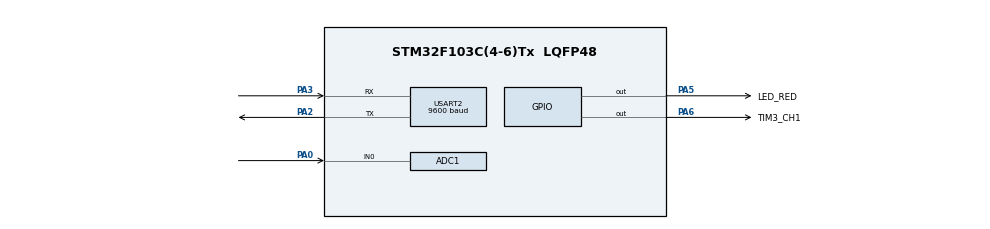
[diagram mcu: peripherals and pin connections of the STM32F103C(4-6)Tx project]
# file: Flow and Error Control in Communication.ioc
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ADC1.Channel-5\#ChannelRegularConversion=ADC_CHANNEL_0
ADC1.ContinuousConvMode=ENABLE
ADC1.NbrOfConversionFlag=1
ADC1.Rank-5\#ChannelRegularConversion=1
ADC1.SamplingTime-5\#ChannelRegularConversion=ADC_SAMPLETIME_1CYCLE_5
ADC1.master=1
Mcu.Family=STM32F1
Mcu.Name=STM32F103C(4-6)Tx
Mcu.Package=LQFP48
NVIC.PriorityGroup=NVIC_PRIORITYGROUP_4
NVIC.TIM2_IRQn=true\:0\:0\:false\:false\:true\:true\:true
NVIC.USART2_IRQn=true\:0\:0\:false\:false\:true\:true\:true
PA0-WKUP.Signal=ADCx_IN0
PA2.Mode=Asynchronous
PA2.Signal=USART2_TX
PA3.Mode=Asynchronous
PA3.Signal=USART2_RX
PA5.GPIO_Label=LED_RED
PA5.Signal=GPIO_Output
PA6.GPIO_Label=TIM3_CH1
PA6.Signal=GPIO_Output
ProjectManager.HeapSize=0x200
ProjectManager.StackSize=0x400
ProjectManager.TargetToolchain=STM32CubeIDE
RCC.APB1Freq_Value=8000000
RCC.APB2Freq_Value=8000000
SH.ADCx_IN0.0=ADC1_IN0,IN0
TIM2.Period=9
TIM2.Prescaler=7999
USART2.BaudRate=9600
USART2.VirtualMode=VM_ASYNC
VP_SYS_VS_ND.Mode=No_Debug
VP_TIM2_VS_ClockSourceINT.Mode=Internal
board=custom

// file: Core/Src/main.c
/* USER CODE BEGIN Header */
/**
  ******************************************************************************
  * @file           : main.c
  * @brief          : Main program body
  ******************************************************************************
  * @attention
  *
  * <h2><center>&copy; Copyright (c) 2023 STMicroelectronics.
  * All rights reserved.</center></h2>
  *
  * This software component is licensed by ST under BSD 3-Clause license,
  * the "License"; You may not use this file except in compliance with the
  * License. You may obtain a copy of the License at:
  *                        opensource.org/licenses/BSD-3-Clause
  *
  ******************************************************************************
  */
/* USER CODE END Header */
#include "main.h"

/* USER CODE BEGIN Includes */
#include "fsm.h"
#include "software_timer.h"
/* USER CODE END Includes */

ADC_HandleTypeDef hadc1;

TIM_HandleTypeDef htim2;

UART_HandleTypeDef huart2;

void SystemClock_Config(void);
static void MX_GPIO_Init(void);
static void MX_ADC1_Init(void);
static void MX_USART2_UART_Init(void);
static void MX_TIM2_Init(void);

/* USER CODE BEGIN 0 */
uint32_t ADC_value = 0;
char str[32]; // Ensure you have a buffer large enough for the string representation of the ADC value
uint8_t temp = 0;
uint8_t buffer[MAX_BUFFER_SIZE];
uint8_t index_buffer = 0;
uint8_t buffer_flag = 0;
#define DELETE_CHAR 0x08 // For the ASCII 'delete' character
void HAL_UART_RxCpltCallback(UART_HandleTypeDef *huart){
    if(huart->Instance == USART2){
    	if (temp==DELETE_CHAR){
			if (index_buffer>0){
				index_buffer--;
			}

			HAL_UART_Transmit(&huart2, (uint8_t *)"\b \b", 3, 50); // for the termination of the backspace
    	}
    	else {
    		if (temp=='!'){
    			index_buffer = 0;
    		}
			HAL_UART_Transmit(&huart2, &temp, 1, 50);
			buffer[index_buffer++] = temp;
			if(index_buffer == MAX_BUFFER_SIZE) index_buffer = 0;

    	}
			buffer_flag = 1;
			HAL_UART_Receive_IT(huart, &temp, 1);
    }
}

/* USER CODE END 0 */

int main(void)
{

  /* MCU Configuration--------------------------------------------------------*/

  /* Reset of all peripherals, Initializes the Flash interface and the Systick. */
  HAL_Init();

  /* Configure the system clock */
  SystemClock_Config();

  /* Initialize all configured peripherals */
  MX_GPIO_Init();
  MX_ADC1_Init();
  MX_USART2_UART_Init();
  MX_TIM2_Init();
  /* USER CODE BEGIN 2 */
  HAL_TIM_Base_Start_IT(&htim2);
  /* USER CODE END 2 */

  /* Infinite loop */
  /* USER CODE BEGIN WHILE */
  HAL_UART_Receive_IT(&huart2, &temp, 1);
  set_TIMER_CYCLE();
  setTimer(1, 100);
  setTimer(0, 100);
  while (1)
  {
    /* USER CODE END WHILE */

    /* USER CODE BEGIN 3 */

	  if( buffer_flag == 1){

		  buffer_flag = 0;
		  command_parser_fsm ();

	  }
	  uart_communiation_fsm ();
  }
  /* USER CODE END 3 */
}

void SystemClock_Config(void)
{
  RCC_OscInitTypeDef RCC_OscInitStruct = {0};
  RCC_ClkInitTypeDef RCC_ClkInitStruct = {0};
  RCC_PeriphCLKInitTypeDef PeriphClkInit = {0};

  /** Initializes the RCC Oscillators according to the specified parameters
  * in the RCC_OscInitTypeDef structure.
  */
  RCC_OscInitStruct.OscillatorType = RCC_OSCILLATORTYPE_HSI;
  RCC_OscInitStruct.HSIState = RCC_HSI_ON;
  RCC_OscInitStruct.HSICalibrationValue = RCC_HSICALIBRATION_DEFAULT;
  RCC_OscInitStruct.PLL.PLLState = RCC_PLL_NONE;
  if (HAL_RCC_OscConfig(&RCC_OscInitStruct) != HAL_OK)
  {
    Error_Handler();
  }
  /** Initializes the CPU, AHB and APB buses clocks
  */
  RCC_ClkInitStruct.ClockType = RCC_CLOCKTYPE_HCLK|RCC_CLOCKTYPE_SYSCLK
                              |RCC_CLOCKTYPE_PCLK1|RCC_CLOCKTYPE_PCLK2;
  RCC_ClkInitStruct.SYSCLKSource = RCC_SYSCLKSOURCE_HSI;
  RCC_ClkInitStruct.AHBCLKDivider = RCC_SYSCLK_DIV1;
  RCC_ClkInitStruct.APB1CLKDivider = RCC_HCLK_DIV1;
  RCC_ClkInitStruct.APB2CLKDivider = RCC_HCLK_DIV1;

  if (HAL_RCC_ClockConfig(&RCC_ClkInitStruct, FLASH_LATENCY_0) != HAL_OK)
  {
    Error_Handler();
  }
  PeriphClkInit.PeriphClockSelection = RCC_PERIPHCLK_ADC;
  PeriphClkInit.AdcClockSelection = RCC_ADCPCLK2_DIV2;
  if (HAL_RCCEx_PeriphCLKConfig(&PeriphClkInit) != HAL_OK)
  {
    Error_Handler();
  }
}

static void MX_ADC1_Init(void)
{

  ADC_ChannelConfTypeDef sConfig = {0};

  /** Common config
  */
  hadc1.Instance = ADC1;
  hadc1.Init.ScanConvMode = ADC_SCAN_DISABLE;
  hadc1.Init.ContinuousConvMode = ENABLE;
  hadc1.Init.DiscontinuousConvMode = DISABLE;
  hadc1.Init.ExternalTrigConv = ADC_SOFTWARE_START;
  hadc1.Init.DataAlign = ADC_DATAALIGN_RIGHT;
  hadc1.Init.NbrOfConversion = 1;
  if (HAL_ADC_Init(&hadc1) != HAL_OK)
  {
    Error_Handler();
  }
  /** Configure Regular Channel
  */
  sConfig.Channel = ADC_CHANNEL_0;
  sConfig.Rank = ADC_REGULAR_RANK_1;
  sConfig.SamplingTime = ADC_SAMPLETIME_1CYCLE_5;
  if (HAL_ADC_ConfigChannel(&hadc1, &sConfig) != HAL_OK)
  {
    Error_Handler();
  }

}

static void MX_TIM2_Init(void)
{

  TIM_ClockConfigTypeDef sClockSourceConfig = {0};
  TIM_MasterConfigTypeDef sMasterConfig = {0};

  htim2.Instance = TIM2;
  htim2.Init.Prescaler = 7999;
  htim2.Init.CounterMode = TIM_COUNTERMODE_UP;
  htim2.Init.Period = 9;
  htim2.Init.ClockDivision = TIM_CLOCKDIVISION_DIV1;
  htim2.Init.AutoReloadPreload = TIM_AUTORELOAD_PRELOAD_DISABLE;
  if (HAL_TIM_Base_Init(&htim2) != HAL_OK)
  {
    Error_Handler();
  }
  sClockSourceConfig.ClockSource = TIM_CLOCKSOURCE_INTERNAL;
  if (HAL_TIM_ConfigClockSource(&htim2, &sClockSourceConfig) != HAL_OK)
  {
    Error_Handler();
  }
  sMasterConfig.MasterOutputTrigger = TIM_TRGO_RESET;
  sMasterConfig.MasterSlaveMode = TIM_MASTERSLAVEMODE_DISABLE;
  if (HAL_TIMEx_MasterConfigSynchronization(&htim2, &sMasterConfig) != HAL_OK)
  {
    Error_Handler();
  }

}

static void MX_USART2_UART_Init(void)
{

  huart2.Instance = USART2;
  huart2.Init.BaudRate = 9600;
  huart2.Init.WordLength = UART_WORDLENGTH_8B;
  huart2.Init.StopBits = UART_STOPBITS_1;
  huart2.Init.Parity = UART_PARITY_NONE;
  huart2.Init.Mode = UART_MODE_TX_RX;
  huart2.Init.HwFlowCtl = UART_HWCONTROL_NONE;
  huart2.Init.OverSampling = UART_OVERSAMPLING_16;
  if (HAL_UART_Init(&huart2) != HAL_OK)
  {
    Error_Handler();
  }

}

static void MX_GPIO_Init(void)
{
  GPIO_InitTypeDef GPIO_InitStruct = {0};

  /* GPIO Ports Clock Enable */
  __HAL_RCC_GPIOA_CLK_ENABLE();

  /*Configure GPIO pin Output Level */
  HAL_GPIO_WritePin(GPIOA, LED_RED_Pin|TIM3_CH1_Pin, GPIO_PIN_RESET);

  /*Configure GPIO pins : LED_RED_Pin TIM3_CH1_Pin */
  GPIO_InitStruct.Pin = LED_RED_Pin|TIM3_CH1_Pin;
  GPIO_InitStruct.Mode = GPIO_MODE_OUTPUT_PP;
  GPIO_InitStruct.Pull = GPIO_NOPULL;
  GPIO_InitStruct.Speed = GPIO_SPEED_FREQ_LOW;
  HAL_GPIO_Init(GPIOA, &GPIO_InitStruct);

}

/* USER CODE BEGIN 4 */
void HAL_TIM_PeriodElapsedCallback(TIM_HandleTypeDef *htim) {
    timer_run();

}
/* USER CODE END 4 */

void Error_Handler(void)
{
  __disable_irq();
  while (1)
  {
  }
}

/************************ (C) COPYRIGHT STMicroelectronics *****END OF FILE****/
